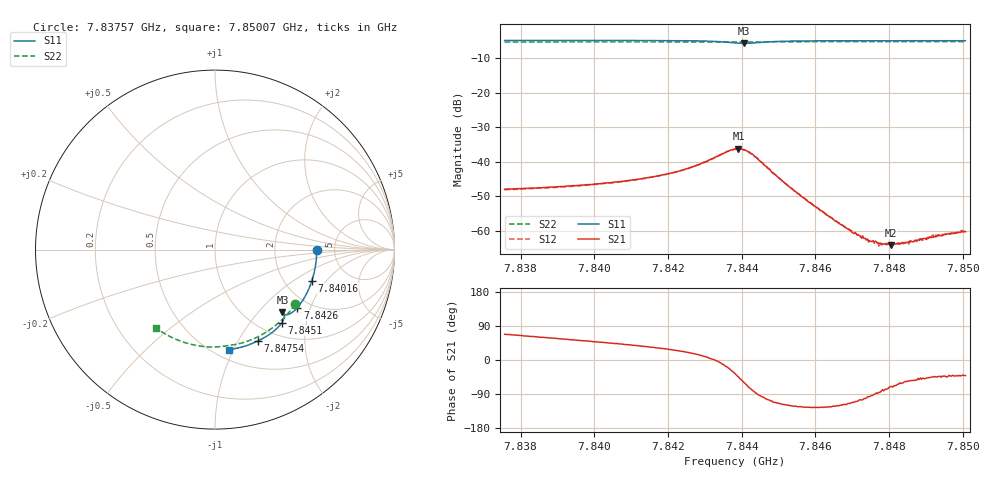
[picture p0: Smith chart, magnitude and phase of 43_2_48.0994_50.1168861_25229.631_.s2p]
#  HZ  S  RI  R  50.00
! Rohde & Schwarz Vector Network Analyzer
! Rohde-Schwarz,ZNB20-2Port,1311601062101988,3.16
! Created: UTC 12/23/2023, 3:39:00 AM
! freq[Hz]  re:S11  im:S11  re:S21  im:S21  re:S12  im:S12  re:S22  im:S22
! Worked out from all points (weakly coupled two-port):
!   401 points, 7.83757 GHz to 7.85007 GHz, reference 50 ohm
!   highest |S21| = -36.21 dB at 7.84391 GHz (marker M1); lowest = -64.0 dB at 7.84804 GHz (marker M2)
!   lowest |S11| = -5.8 dB at 7.84407 GHz (marker M3), VSWR 3.11, Z = 71.9 - j68.4 ohm
!   |S11| at or under -10 dB: nowhere
!   |S22| runs from -5.4 to -5.3 dB; largest |S21 - S12| = 0.00034
!   S11 on the Smith chart (normalised r, x): 7.83757 GHz: 3.61, -0.03; 7.84016 GHz: 2.80, -1.44; 7.8426 GHz: 1.72, -1.63; 7.8451 GHz: 1.24, -1.46; 7.84754 GHz: 0.81, -1.21; 7.85007 GHz: 0.59, -0.96
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7.837567e9  0.5665 -0.00284  0.00151 0.00373  0.00152 0.00366  0.446 -0.3042
7.839662e9  0.5492 -0.1414  0.00287 0.0036  0.00285 0.00357  0.3484 -0.4133
7.840162e9  0.5399 -0.1737  0.0033 0.00354  0.00323 0.00354  0.321 -0.4353
7.841757e9  0.495 -0.2736  0.00541 0.0033  0.00531 0.00326  0.225 -0.4924
7.842601e9  0.459 -0.3237  0.0078 0.00264  0.00774 0.00268  0.1696 -0.5142
7.843351e9  0.4115 -0.3601  0.0121 -0.000704  0.012 -0.000848  0.1185 -0.5275
7.84382e9  0.3778 -0.3586  0.0125 -0.00897  0.0123 -0.00885  0.087 -0.5321
7.843914e9  0.375 -0.355  0.011 -0.0108  0.0111 -0.0109  0.0811 -0.5327
7.84407e9  0.3758 -0.3501  0.00743 -0.0128  0.00754 -0.0129  0.0714 -0.5344
7.844352e9  0.3849 -0.356  0.00115 -0.0119  0.00124 -0.0119  0.0533 -0.5376
7.845102e9  0.3726 -0.407  -0.00238 -0.00474  -0.00239 -0.00477  0.00107 -0.5428
7.845915e9  0.3323 -0.4503  -0.00141 -0.00197  -0.00143 -0.002  -0.0565 -0.5408
7.846978e9  0.2717 -0.4925  -0.000376 -0.0009  -0.000413 -0.00093  -0.1303 -0.5287
7.847385e9  0.2472 -0.5054  -0.00014 -0.000742  -0.000119 -0.000737  -0.1579 -0.5213
7.847541e9  0.2376 -0.5103  -4.59e-05 -0.000704  -3.8e-05 -0.000711  -0.1684 -0.5182
7.847791e9  0.2224 -0.5172  9.01e-05 -0.000647  8.32e-05 -0.000622  -0.185 -0.5124
7.84801e9  0.2088 -0.5228  0.0002 -0.000606  0.000175 -0.000621  -0.1995 -0.5073
7.848041e9  0.2069 -0.5237  0.000213 -0.000594  0.0002 -0.000598  -0.2014 -0.5064
7.848385e9  0.1852 -0.5317  0.000337 -0.00059  0.000315 -0.000575  -0.2239 -0.4972
7.848479e9  0.1792 -0.5338  0.000375 -0.00058  0.000377 -0.000563  -0.2299 -0.4944
7.84923e9  0.131 -0.5475  0.000607 -0.000576  0.000589 -0.000562  -0.2766 -0.4704
7.850074e9  0.0756 -0.5574  0.000739 -0.000646  0.000735 -0.000663  -0.326 -0.438
